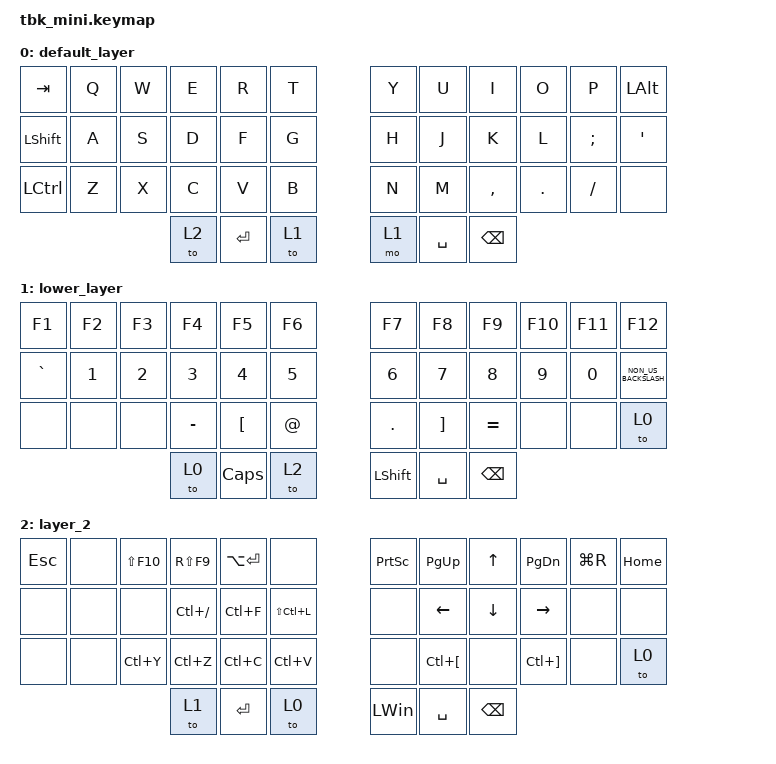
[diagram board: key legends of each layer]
/*
 * Copyright (c) 2020 The ZMK Contributors
 *
 * SPDX-License-Identifier: MIT
 */

#include <behaviors.dtsi>
#include <dt-bindings/zmk/keys.h>

/ {
    behaviors {
        hm: homerow_mods {
            compatible = "zmk,behavior-hold-tap";
            label = "HOMEROW_MODS";
            #binding-cells = <2>;
            tapping-term-ms = <200>;
            quick_tap_ms = <0>;
            flavor = "tap-preferred";
            bindings = <&kp>, <&kp>;

            quick-tap-ms = <180>;
            global-quick-tap;
        };

        ltq: ltq {
            compatible = "zmk,behavior-hold-tap";
            label = "LTQ";
            bindings = <&mo>, <&kp>;

            #binding-cells = <2>;
            tapping-term-ms = <600>;
            global-quick-tap;
            quick-tap-ms = <400>;
        };
    };

    combos {
        compatible = "zmk,combos";

        left_bkt {
            bindings = <&kp LEFT_BRACKET>;
            key-positions = <4 3>;
            timeout-ms = <50>;
        };

        right_bkt {
            bindings = <&kp RBKT>;
            key-positions = <7 8>;
            timeout-ms = <50>;
        };

        left_par {
            bindings = <&kp LEFT_PARENTHESIS>;
            key-positions = <15 16>;
            timeout-ms = <50>;
        };

        right_par {
            bindings = <&kp RIGHT_PARENTHESIS>;
            key-positions = <19 20>;
            timeout-ms = <50>;
        };

        left_brace {
            bindings = <&kp LEFT_BRACE>;
            key-positions = <27 28>;
            timeout-ms = <50>;
        };

        right_brace {
            bindings = <&kp RIGHT_BRACE>;
            key-positions = <32 31>;
            timeout-ms = <50>;
        };

        bac {
            bindings = <&kp BACKSLASH>;
            key-positions = <5 6>;
        };

        pipe {
            bindings = <&kp PIPE>;
            key-positions = <17 18>;
        };
    };

    keymap {
        compatible = "zmk,keymap";

        default_layer {
            bindings = <
&kp TAB           &kp Q  &kp W  &kp E  &kp R      &kp T  &kp Y  &kp U      &kp I          &kp O    &kp P          &kp LEFT_ALT
&kp LEFT_SHIFT    &kp A  &kp S  &kp D  &kp F      &kp G  &kp H  &kp J      &kp K          &kp L    &kp SEMICOLON  &kp SQT
&kp LEFT_CONTROL  &kp Z  &kp X  &kp C  &kp V      &kp B  &kp N  &kp M      &kp COMMA      &kp DOT  &kp FSLH       &none
                                &to 2  &kp ENTER  &to 1  &mo 1  &kp SPACE  &kp BACKSPACE
            >;
        };

        lower_layer {
            bindings = <
&kp F1     &kp F2        &kp F3        &kp F4        &kp F5            &kp F6       &kp F7          &kp F8             &kp F9         &kp F10  &kp F11  &kp F12
&kp GRAVE  &kp NUMBER_1  &kp NUMBER_2  &kp NUMBER_3  &kp NUMBER_4      &kp N5       &kp NUMBER_6    &kp N7             &kp N8         &kp N9   &kp N0   &kp NON_US_BACKSLASH
&none      &none         &none         &kp MINUS     &kp LEFT_BRACKET  &kp AT_SIGN  &kp PERIOD      &kp RIGHT_BRACKET  &kp EQUAL      &none    &none    &to 0
                                       &to 0         &kp CAPSLOCK      &to 2        &kp LEFT_SHIFT  &kp SPACE          &kp BACKSPACE
            >;
        };

        layer_2 {
            bindings = <
&kp ESC  &none  &kp LS(F10)  &kp RS(F9)     &kp LA(ENTER)  &none          &kp PRINTSCREEN  &kp PAGE_UP           &kp UP_ARROW    &kp PAGE_DOWN          &kp LG(R)  &kp HOME
&none    &none  &none        &kp LC(SLASH)  &kp LC(F)      &kp LS(LC(L))  &none            &kp LEFT_ARROW        &kp DOWN_ARROW  &kp RIGHT_ARROW        &none      &none
&none    &none  &kp LC(Y)    &kp LC(Z)      &kp LC(C)      &kp LC(V)      &none            &kp LC(LEFT_BRACKET)  &none           &kp LC(RIGHT_BRACKET)  &none      &to 0
                             &to 1          &kp ENTER      &to 0          &kp LEFT_WIN     &kp SPACE             &kp BACKSPACE
            >;
        };
    };
};
